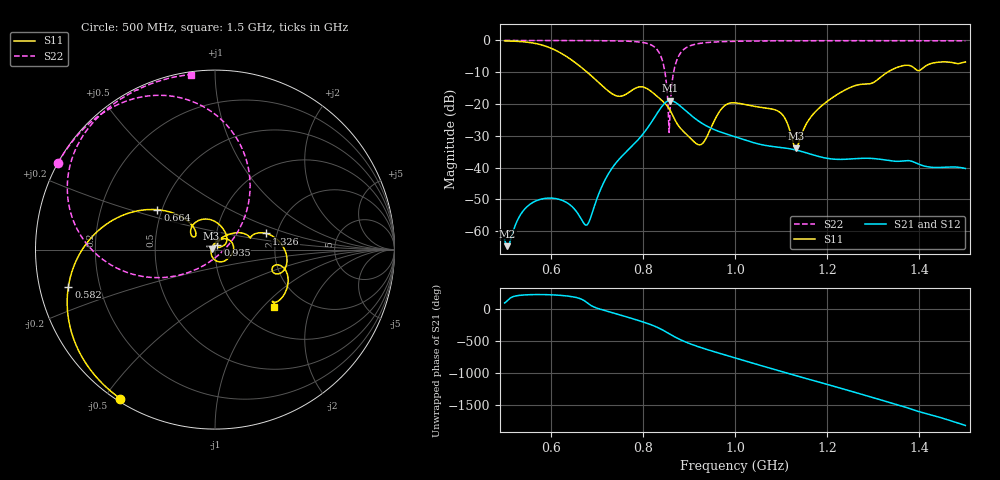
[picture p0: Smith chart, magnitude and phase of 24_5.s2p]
! TOUCHSTONE file generated by CST MICROWAVE STUDIO
! Date and time: Mon Oct 26 12:32:15 2020
! Project name: Scenario_1_Circular_Tissue_out_of_Line.cst
! Parameters = {dy1=52.843; L_HA=400; MT=2.54; Rad_Dielectric=30; Rad_Lower=7.3; Rad_Upper=30; a_HA=580; a_WG=246; b_HA=500; b_WG=121; c_HA=0; c_WG=187; d_feed=85; dx1=866; h_feed=15; h_lower=18; h_upper=40}
! Header version: 2018
! Port assignment regex: !\s*Touchstone port\s*([0-9]+)\s*=\s*(CST MWS port|CST DS port)\s*([0-9]+|Zmin|Zmax)\s*\(\"(.*)\"\)(\s*mode\s*([0-9]+))?.*
! Touchstone port assignment:
! Touchstone port 1 = CST MWS port 1 ("")
! Touchstone port 2 = CST MWS port 2 ("")
# GHz S DB R 50
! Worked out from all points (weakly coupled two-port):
!   1001 points, 500 MHz to 1.5 GHz, reference 50 ohm
!   highest |S21| = -18.91 dB at 859 MHz (marker M1); lowest = -64.7 dB at 506 MHz (marker M2)
!   lowest |S11| = -33.9 dB at 1.132 GHz (marker M3), VSWR 1.04, Z = 48.1 + j0.574 ohm
!   |S11| at or under -10 dB: 679.3 MHz to 1.331 GHz (651.6 MHz wide, 64.8 % of centre)
!   |S22| runs from -28.9 to 0.0 dB; largest |S21 - S12| = 4.1e-06
!   S11 on the Smith chart (normalised r, x): 500 MHz: 0.01, -0.55; 582 MHz: 0.09, -0.12; 664 MHz: 0.47, +0.25; 935 MHz: 1.03, +0.05; 1.326 GHz: 1.76, +0.35; 1.5 GHz: 1.42, -1.16
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0.5  -0.14 -122.4  -62.66 99.1  -62.66 99.1  -0.01 151.1
0.506  -0.16 -124.8  -64.72 136.7  -64.72 136.7  -0.01 150.7
0.54  -0.42 -140.7  -53.68 -136.3  -53.68 -136.3  -0.01 148.5
0.582  -1.49 -165.9  -49.83 -129.0  -49.83 -129.0  -0.02 145.5
0.664  -8.17 145.3  -55.63 166.9  -55.63 166.9  -0.04 138.6
0.667  -8.52 144.0  -56.38 158.0  -56.38 158.0  -0.04 138.3
0.682  -10.34 138.5  -57.42 85.7  -57.42 85.8  -0.05 136.8
0.739  -17.23 140.3  -39.03 -64.8  -39.03 -64.8  -0.13 129.4
0.779  -15.43 143.6  -32.90 -150.5  -32.90 -150.5  -0.33 120.5
0.834  -17.95 70.4  -22.27 67.3  -22.27 67.3  -3.50 82.1
0.859  -21.93 35.3  -18.91 -32.7  -18.91 -32.7  -22.32 -114.7
0.868  -24.52 26.2  -19.26 -69.5  -19.26 -69.5  -9.10 -153.5
0.879  -27.18 24.6  -20.37 -110.0  -20.37 -110.0  -4.58 -172.0
0.935  -31.35 60.6  -26.65 97.0  -26.65 97.0  -0.73 152.6
0.97  -21.64 47.1  -28.89 20.0  -28.89 20.0  -0.40 144.8
1  -19.63 5.0  -30.31 -44.4  -30.31 -44.4  -0.27 140.1
1.096  -22.46 -65.6  -33.62 112.4  -33.62 112.4  -0.13 130.0
1.132  -33.95 162.7  -34.46 37.4  -34.46 37.4  -0.11 127.0
1.167  -23.65 65.3  -35.90 -34.0  -35.90 -34.0  -0.10 124.1
1.326  -10.47 17.4  -37.62 -4.7  -37.62 -4.7  -0.09 112.0
1.334  -9.72 13.6  -37.80 -21.5  -37.80 -21.5  -0.09 111.4
1.5  -6.77 -44.6  -40.27 -25.9  -40.27 -25.9  -0.13 97.8
